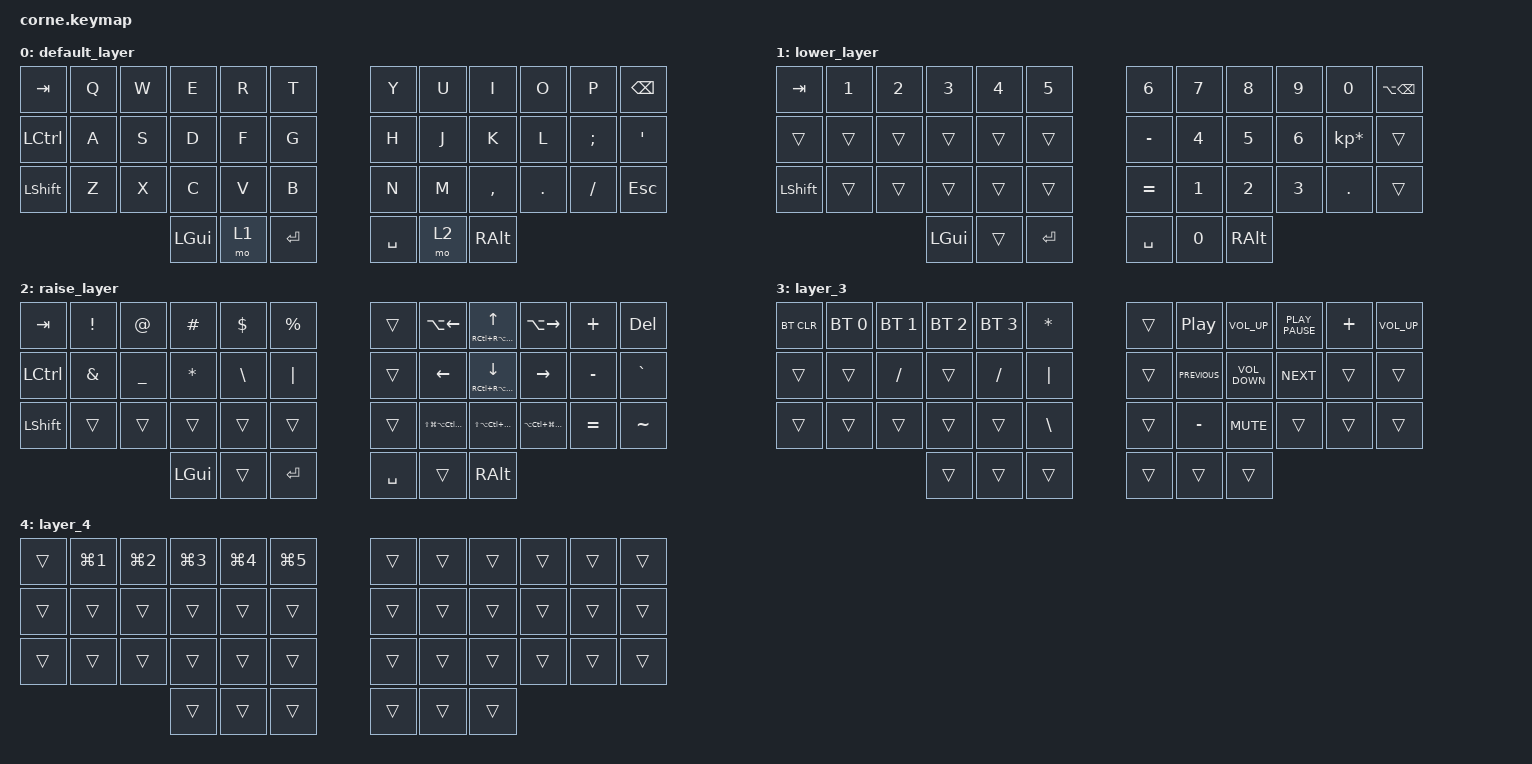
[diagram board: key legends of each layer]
/*
 * Copyright (c) 2020 The ZMK Contributors
 *
 * SPDX-License-Identifier: MIT
 */

#include <behaviors.dtsi>
#include <dt-bindings/zmk/bt.h>
#include <dt-bindings/zmk/keys.h>

/*
* &led_strip {
*     // chain-length = <0>;
* 
*     //chain-length = <6>;
* 
*     // 21 backlight + 6 glowlight
* };
*/

/ {
    combos {
        compatible = "zmk,combos";

        command_tilde {
            bindings = <&kp LG(GRAVE)>;
            key-positions = <12 36>;
        };

        thirdlayer {
            bindings = <&mo 3>;
            key-positions = <37 40>;
        };

        bootloader {
            bindings = <&bootloader>;
            key-positions = <0 11>;
        };

        undo {
            bindings = <&kp LG(Z)>;
            key-positions = <38 39>;
        };

        redo {
            bindings = <&kp LG(LS(Z))>;
            key-positions = <29 30>;
        };

        deleteword {
            bindings = <&kp LA(BACKSPACE)>;
            key-positions = <5 6>;
        };

        emoji {
            bindings = <&kp LG(LC(SPACE))>;
            key-positions = <17 18>;
        };

        back {
            bindings = <&kp LG(LEFT_BRACKET)>;
            key-positions = <37 40 28>;
        };

        forward {
            bindings = <&kp LG(RIGHT_BRACKET)>;
            key-positions = <40 37 31>;
        };

        racast {
            bindings = <&kp LG(SPACE)>;
            key-positions = <29 30>;
        };

        leftparent {
            bindings = <&kp LEFT_PARENTHESIS>;
            key-positions = <4 5>;
        };

        rightparent {
            bindings = <&kp RIGHT_PARENTHESIS>;
            key-positions = <6 7>;
        };

        leftbrace {
            bindings = <&kp LEFT_BRACE>;
            key-positions = <16 17>;
        };

        rightbrace {
            bindings = <&kp RIGHT_BRACE>;
            key-positions = <18 19>;
        };

        leftbracket {
            bindings = <&kp LG(LEFT_BRACKET)>;
            key-positions = <17 16 15>;
        };

        rightbracket {
            bindings = <&kp LG(RIGHT_BRACKET)>;
            key-positions = <18 19 20>;
        };

        rightmeh {
            bindings = <&kp LG(LEFT_ALT)>;
            key-positions = <19 20 21>;
        };

        rightmeh2 {
            bindings = <&kp LG(LC(LS(LEFT_ALT)))>;
            key-positions = <31 33 32>;
        };

        layer4 {
            bindings = <&mo 4>;
            key-positions = <7 8 9>;
        };

        leftsquarebracket {
            bindings = <&kp LEFT_BRACKET>;
            key-positions = <28 29>;
        };

        rightsquarebracket {
            bindings = <&kp RIGHT_BRACKET>;
            key-positions = <30 31>;
        };

        cat {
            bindings = <&kp LS(LG(LA(LC(G))))>;
            key-positions = <16 19>;
        };

        less-than {
            bindings = <&kp LESS_THAN>;
            key-positions = <29 28 27>;
        };

        greater-than {
            bindings = <&kp GREATER_THAN>;
            key-positions = <30 31 32>;
        };

        dewfault_pwd {
            bindings = <&default_pwd>;
            key-positions = <1 10>;
        };
    };

    macros {
        up_several: up_several {
            compatible = "zmk,behavior-macro";
            #binding-cells = <0>;
            bindings = <&kp UP_ARROW &kp UP_ARROW &kp UP_ARROW>;
            label = "UP_SEVERAL";
        };

        down_several: down_several {
            compatible = "zmk,behavior-macro";
            #binding-cells = <0>;
            bindings = <&kp DOWN &kp DOWN_ARROW &kp DOWN_ARROW>;
            label = "DOWN_SEVERAL";
        };

        default_pwd: default_pwd {
            compatible = "zmk,behavior-macro";
            #binding-cells = <0>;
            bindings = <&kp J &kp D &kp AT &kp P &kp I &kp N &kp C &kp DOT &kp N &kp Z &kp TAB &kp D &kp A &kp M &kp H &kp E &kp G &kp MINUS &kp C &kp O &kp LS(H) &kp R &kp O &kp N1 &kp MINUS &kp Z &kp A &kp G &kp C &kp Y &kp N>;
            label = "DEFAULT_PWD";
        };
    };

    keymap {
        compatible = "zmk,keymap";

        default_layer {
            // -----------------------------------------------------------------------------------------
            // |  TAB |  Q  |  W  |  E  |  R  |  T  |   |  Y  |  U   |  I  |  O  |  P  | BKSP |
            // | CTRL |  A  |  S  |  D  |  F  |  G  |   |  H  |  J   |  K  |  L  |  ;  |  '   |
            // | SHFT |  Z  |  X  |  C  |  V  |  B  |   |  N  |  M   |  ,  |  .  |  /  | ESC  |
            //                    | GUI | LWR | ENT |   | SPC | RSE  | ALT |

            bindings = <
&kp TAB    &kp Q  &kp W  &kp E     &kp R  &kp T      &kp Y      &kp U  &kp I      &kp O    &kp P     &kp BSPC
&kp LCTRL  &kp A  &kp S  &kp D     &kp F  &kp G      &kp H      &kp J  &kp K      &kp L    &kp SEMI  &kp SQT
&kp LSHFT  &kp Z  &kp X  &kp C     &kp V  &kp B      &kp N      &kp M  &kp COMMA  &kp DOT  &kp FSLH  &kp ESC
                         &kp LGUI  &mo 1  &kp RET    &kp SPACE  &mo 2  &kp RALT
            >;
        };

        lower_layer {
            // -----------------------------------------------------------------------------------------
            // |  TAB |  1  |  2  |  3  |  4  |  5  |   |  6  |  7  |  8  |  9  |  0  | BKSP |
            // | BTCLR| BT1 | BT2 | BT3 | BT4 | BT5 |   | LFT | DWN |  UP | RGT |     |      |
            // | SHFT |     |     |     |     |     |   |     |     |     |     |     |      |
            //                    | GUI |     | RET |   | SPACE |     | ALT |

            bindings = <
&kp TAB    &kp N1  &kp N2  &kp N3    &kp N4  &kp N5     &kp N6     &kp N7        &kp N8        &kp N9        &kp N0           &kp LA(BSPC)
&trans     &trans  &trans  &trans    &trans  &trans     &kp MINUS  &kp NUMBER_4  &kp N5        &kp NUMBER_6  &kp KP_ASTERISK  &trans
&kp LSHFT  &trans  &trans  &trans    &trans  &trans     &kp EQUAL  &kp NUMBER_1  &kp NUMBER_2  &kp NUMBER_3  &kp DOT          &trans
                           &kp LGUI  &trans  &kp RET    &kp SPACE  &kp NUMBER_0  &kp RALT
            >;
        };

        raise_layer {
            // -----------------------------------------------------------------------------------------
            // |  TAB |  !  |  @  |  #  |  $  |  %  |   |  ^  |  &  |  *  |  (  |  )  | BKSP |
            // | CTRL |     |     |     |     |     |   |  -  |  =  |  [  |  ]  |  \  |  `   |
            // | SHFT |     |     |     |     |     |   |  _  |  +  |  {  |  }  | "|" |  ~   |
            //                    | GUI |     | RET |   | SPACE |     | ALT |

            bindings = <
&kp TAB    &kp EXCL  &kp AT          &kp HASH      &kp DLLR       &kp PRCNT    &trans     &kp LA(LEFT)              &mt RC(RA(RS(UP_ARROW))) UP_ARROW  &kp LA(RIGHT)              &kp PLUS   &kp DEL
&kp LCTRL  &kp AMPS  &kp UNDERSCORE  &kp ASTERISK  &kp BACKSLASH  &kp PIPE     &trans     &kp LEFT_ARROW            &mt RC(RA(RS(DOWN))) DOWN_ARROW    &kp RIGHT                  &kp MINUS  &kp GRAVE
&kp LSHFT  &trans    &trans          &trans        &trans         &trans       &trans     &kp LS(LG(LA(LC(LEFT))))  &kp LS(LA(LC(LG(UP_ARROW))))       &kp LA(LC(LG(LS(RIGHT))))  &kp EQUAL  &kp TILDE
                                     &kp LGUI      &trans         &kp RET      &kp SPACE  &trans                    &kp RALT
            >;
        };

        layer_3 {
            bindings = <
&bt BT_CLR  &bt BT_SEL 0  &bt BT_SEL 1  &bt BT_SEL 2  &bt BT_SEL 3  &kp ASTERISK     &trans  &kp C_PLAY_PAUSE  &kp C_VOLUME_UP    &kp K_PLAY_PAUSE  &kp PLUS  &kp C_VOLUME_UP
&trans      &trans        &kp SLASH     &trans        &kp SLASH     &kp PIPE         &trans  &kp C_PREVIOUS    &kp C_VOLUME_DOWN  &kp C_NEXT        &trans    &trans
&trans      &trans        &trans        &trans        &trans        &kp BACKSLASH    &trans  &kp MINUS         &kp K_MUTE         &trans            &trans    &trans
                                        &trans        &trans        &trans           &trans  &trans            &trans
            >;
        };

        layer_4 {
            bindings = <
&trans  &kp LG(NUMBER_1)  &kp LG(NUMBER_2)  &kp LG(NUMBER_3)  &kp LG(NUMBER_4)  &kp LG(N5)    &trans  &trans  &trans  &trans  &trans  &trans
&trans  &trans            &trans            &trans            &trans            &trans        &trans  &trans  &trans  &trans  &trans  &trans
&trans  &trans            &trans            &trans            &trans            &trans        &trans  &trans  &trans  &trans  &trans  &trans
                                            &trans            &trans            &trans        &trans  &trans  &trans
            >;
        };
    };

    conditional_layers { compatible = "zmk,conditional-layers"; };
};
